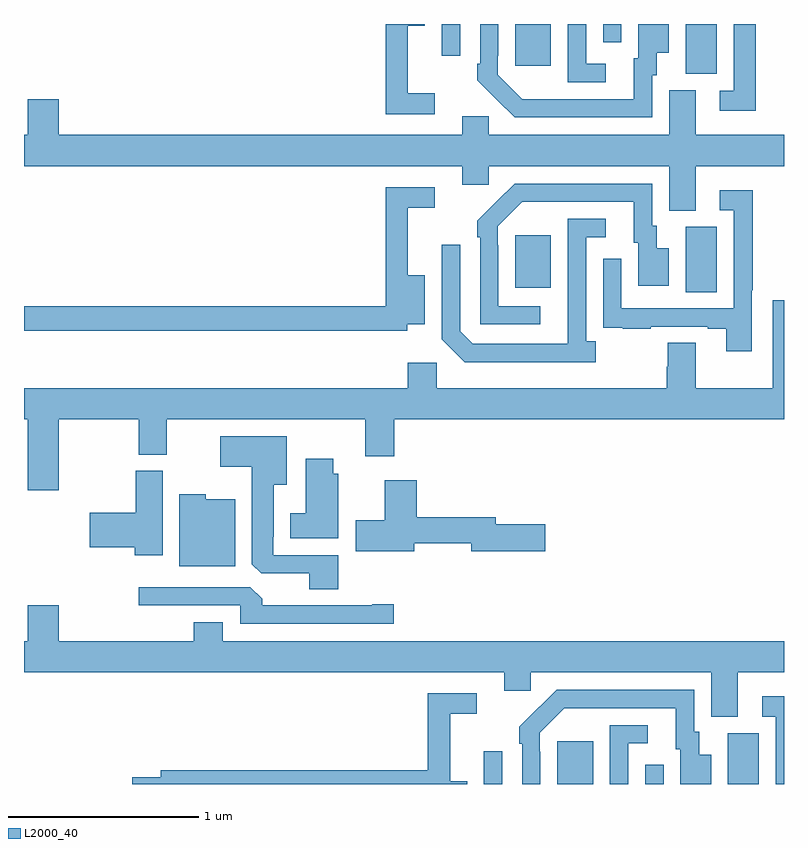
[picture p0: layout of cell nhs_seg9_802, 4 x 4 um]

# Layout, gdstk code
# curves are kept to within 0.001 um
import gdstk
lib = gdstk.Library(unit=1e-6, precision=1e-09)
def R(c, l, rs):  # rectangles x0, y0, x1, y1
    for r in rs: c.add(gdstk.rectangle(r[:2], r[2:], *l))
def P(c, l, *ps):  # polygons
    for p in ps: c.add(gdstk.Polygon(p, *l))
L2000_40 = (2000, 40)

nhs_seg9_802 = lib.new_cell('nhs_seg9_802')
R(nhs_seg9_802, L2000_40, [(155.421,1194.5,155.517,1194.673), (155.807,1194.5,155.995,1194.724), (156.27,1194.5,156.366,1194.601), (156.704,1194.5,156.868,1194.768), (156.482,1197.088,156.646,1197.432), (155.585,1197.113,155.773,1197.388), (156.482,1198.237,156.646,1198.5), (155.585,1198.281,155.773,1198.5), (155.199,1198.332,155.295,1198.5), (156.048,1198.404,156.144,1198.5)])
P(nhs_seg9_802, L2000_40, [(155.161,1198.135),(155.021,1198.135),(155.021,1198.49),(155.11,1198.49),(155.11,1198.5),(154.903,1198.5),(154.903,1198.026),(155.161,1198.026)],
  [(156.306,1198.23),(156.331,1198.23),(156.331,1198.349),(156.394,1198.349),(156.394,1198.5),(156.233,1198.5),(156.233,1198.32),(156.209,1198.32),(156.209,1198.104),(155.622,1198.105),(155.493,1198.233),(155.493,1198.333),(155.496,1198.333),(155.496,1198.5),(155.4,1198.5),(155.4,1198.291),(155.385,1198.291),(155.385,1198.203),(155.582,1198.008),(156.306,1198.008)],
  [(156.061,1198.29),(155.958,1198.29),(155.958,1198.5),(155.862,1198.5),(155.862,1198.194),(156.061,1198.194)],
  [(156.851,1198.5),(156.735,1198.5),(156.735,1198.149),(156.663,1198.149),(156.663,1198.044),(156.851,1198.044)],
  [(156.535,1197.752),(157,1197.752),(157,1197.916),(156.535,1197.916),(156.535,1198.152),(156.395,1198.152),(156.395,1197.916),(155.445,1197.916),(155.445,1198.014),(155.306,1198.014),(155.306,1197.916),(153.184,1197.916),(153.184,1198.105),(153.02,1198.105),(153.02,1197.916),(153,1197.916),(153,1197.752),(155.306,1197.752),(155.306,1197.654),(155.445,1197.654),(155.445,1197.752),(156.395,1197.752),(156.395,1197.517),(156.535,1197.517)],
  [(155.716,1197.015),(155.496,1197.015),(155.496,1197.335),(155.493,1197.335),(155.493,1197.435),(155.622,1197.564),(156.209,1197.564),(156.209,1197.348),(156.233,1197.348),(156.233,1197.123),(156.394,1197.123),(156.394,1197.319),(156.331,1197.319),(156.331,1197.438),(156.306,1197.438),(156.306,1197.66),(155.582,1197.66),(155.385,1197.465),(155.385,1197.377),(155.4,1197.377),(155.4,1196.919),(155.716,1196.919)],
  [(155.016,1196.921),(155.11,1196.921),(155.11,1197.178),(155.021,1197.178),(155.021,1197.534),(155.161,1197.534),(155.161,1197.642),(154.903,1197.642),(154.903,1197.014),(153,1197.014),(153,1196.886),(155.016,1196.886)],
  [(156.831,1197.1),(156.836,1197.1),(156.836,1197.625),(156.663,1197.625),(156.663,1197.519),(156.735,1197.519),(156.735,1197.003),(156.144,1197.003),(156.144,1197.265),(156.048,1197.265),(156.048,1197.01),(156.049,1197.01),(156.049,1196.901),(156.151,1196.901),(156.151,1196.895),(156.299,1196.895),(156.299,1196.907),(156.599,1196.907),(156.599,1196.895),(156.695,1196.895),(156.695,1196.778),(156.831,1196.778)],
  [(156.01,1196.83),(155.958,1196.83),(155.958,1197.378),(156.061,1197.378),(156.061,1197.474),(155.862,1197.474),(155.861,1196.817),(155.361,1196.817),(155.295,1196.883),(155.295,1197.337),(155.199,1197.337),(155.199,1196.841),(155.32,1196.72),(156.01,1196.72)],
  [(153,1196.42),(153.02,1196.42),(153.02,1196.046),(153.184,1196.046),(153.184,1196.42),(153.604,1196.42),(153.604,1196.233),(153.751,1196.233),(153.751,1196.42),(154.796,1196.42),(154.796,1196.226),(154.949,1196.226),(154.949,1196.42),(157,1196.42),(157,1197.046),(156.941,1197.046),(156.941,1196.584),(156.535,1196.584),(156.535,1196.822),(156.388,1196.822),(156.388,1196.697),(156.383,1196.697),(156.383,1196.584),(155.172,1196.584),(155.172,1196.716),(155.021,1196.716),(155.021,1196.584),(153,1196.584)],
  [(154.655,1195.704),(154.311,1195.704),(154.311,1195.801),(154.315,1195.801),(154.315,1196.075),(154.384,1196.075),(154.384,1196.329),(154.032,1196.329),(154.032,1196.171),(154.199,1196.171),(154.199,1195.657),(154.248,1195.608),(154.502,1195.608),(154.502,1195.525),(154.655,1195.525)],
  [(154.654,1196.133),(154.627,1196.133),(154.627,1196.212),(154.484,1196.212),(154.484,1195.924),(154.4,1195.924),(154.4,1195.793),(154.654,1195.793)],
  [(153.73,1196.148),(153.589,1196.148),(153.589,1195.928),(153.345,1195.928),(153.345,1195.745),(153.584,1195.745),(153.584,1195.704),(153.73,1195.704)],
  [(155.053,1195.768),(155.354,1195.768),(155.354,1195.726),(155.743,1195.726),(155.743,1195.868),(155.482,1195.868),(155.482,1195.904),(155.066,1195.904),(155.066,1196.098),(154.898,1196.098),(154.898,1195.887),(154.746,1195.887),(154.746,1195.724),(155.053,1195.724)],
  [(154.111,1195.999),(153.957,1195.999),(153.957,1196.026),(153.818,1196.026),(153.818,1195.646),(154.111,1195.646)],
  [(154.945,1195.445),(154.832,1195.445),(154.832,1195.44),(154.253,1195.44),(154.253,1195.474),(154.191,1195.536),(153.603,1195.536),(153.603,1195.44),(154.137,1195.44),(154.137,1195.344),(154.945,1195.344)],
  [(154.045,1195.351),(153.893,1195.351),(153.893,1195.252),(153.184,1195.252),(153.184,1195.441),(153.02,1195.441),(153.02,1195.252),(153,1195.252),(153,1195.088),(155.528,1195.088),(155.528,1194.99),(155.667,1194.99),(155.667,1195.088),(156.617,1195.088),(156.617,1194.853),(156.757,1194.853),(156.757,1195.088),(157,1195.088),(157,1195.252),(154.045,1195.252)],
  [(155.718,1194.671),(155.715,1194.671),(155.715,1194.771),(155.844,1194.9),(156.431,1194.9),(156.431,1194.684),(156.455,1194.684),(156.455,1194.5),(156.616,1194.5),(156.616,1194.655),(156.553,1194.655),(156.553,1194.774),(156.528,1194.774),(156.528,1194.996),(155.804,1194.996),(155.607,1194.801),(155.607,1194.713),(155.622,1194.713),(155.622,1194.5),(155.718,1194.5)],
  [(155.332,1194.514),(155.243,1194.514),(155.243,1194.87),(155.383,1194.87),(155.383,1194.978),(155.125,1194.978),(155.125,1194.572),(153.719,1194.572),(153.719,1194.536),(153.57,1194.536),(153.57,1194.5),(155.332,1194.5)],
  [(157,1194.961),(156.885,1194.961),(156.885,1194.855),(156.957,1194.855),(156.957,1194.5),(157,1194.5)],
  [(156.18,1194.714),(156.283,1194.714),(156.283,1194.81),(156.084,1194.81),(156.084,1194.5),(156.18,1194.5)])

lib.write_gds('nhs_seg9_802.gds')
